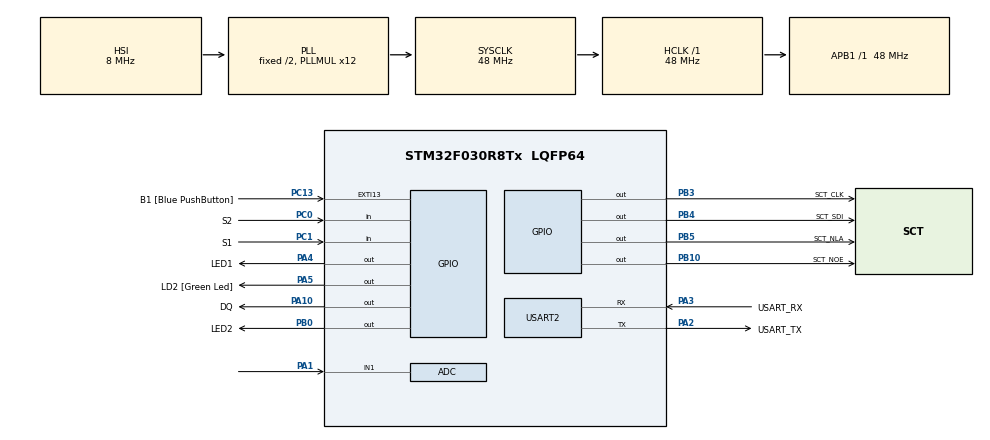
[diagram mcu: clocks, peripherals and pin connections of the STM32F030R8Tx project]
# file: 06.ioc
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ADC.ContinuousConvMode=ENABLE
ADC.Overrun=ADC_OVR_DATA_OVERWRITTEN
ADC.Resolution=ADC_RESOLUTION_10B
Mcu.Family=STM32F0
Mcu.Name=STM32F030R8Tx
Mcu.Package=LQFP64
PA1.Mode=IN1
PA1.Signal=ADC_IN1
PA10.GPIO_Label=DQ
PA10.GPIO_ModeDefaultOutputPP=GPIO_MODE_OUTPUT_OD
PA10.GPIO_PuPd=GPIO_NOPULL
PA10.PinState=GPIO_PIN_SET
PA10.Signal=GPIO_Output
PA13.GPIO_Label=TMS
PA13.Mode=Serial_Wire
PA13.Signal=SYS_SWDIO
PA14.GPIO_Label=TCK
PA14.Mode=Serial_Wire
PA14.Signal=SYS_SWCLK
PA2.GPIO_Label=USART_TX
PA2.GPIO_Mode=GPIO_MODE_AF_PP
PA2.GPIO_PuPd=GPIO_NOPULL
PA2.GPIO_Speed=GPIO_SPEED_FREQ_LOW
PA2.Mode=Asynchronous
PA2.Signal=USART2_TX
PA3.GPIO_Label=USART_RX
PA3.GPIO_Mode=GPIO_MODE_AF_PP
PA3.GPIO_PuPd=GPIO_NOPULL
PA3.GPIO_Speed=GPIO_SPEED_FREQ_LOW
PA3.Mode=Asynchronous
PA3.Signal=USART2_RX
PA4.GPIO_Label=LED1
PA4.GPIO_ModeDefaultOutputPP=GPIO_MODE_OUTPUT_PP
PA4.Signal=GPIO_Output
PA5.GPIO_Label=LD2 [Green Led]
PA5.GPIO_Mode=GPIO_MODE_OUTPUT_PP
PA5.GPIO_PuPd=GPIO_NOPULL
PA5.GPIO_Speed=GPIO_SPEED_FREQ_LOW
PA5.Signal=GPIO_Output
PB0.GPIO_Label=LED2
PB0.Signal=GPIO_Output
PB10.GPIO_Label=SCT_NOE
PB10.Signal=GPIO_Output
PB3.GPIO_Label=SCT_CLK
PB3.Signal=GPIO_Output
PB4.GPIO_Label=SCT_SDI
PB4.Signal=GPIO_Output
PB5.GPIO_Label=SCT_NLA
PB5.Signal=GPIO_Output
PC0.GPIO_Label=S2
PC0.GPIO_PuPd=GPIO_PULLUP
PC0.Signal=GPIO_Input
PC1.GPIO_Label=S1
PC1.GPIO_PuPd=GPIO_PULLUP
PC1.Signal=GPIO_Input
PC13.GPIO_Label=B1 [Blue PushButton]
PC13.GPIO_ModeDefaultEXTI=GPIO_MODE_IT_FALLING
PC13.Signal=GPXTI13
PC14-OSC32_IN.Mode=LSE-External-Oscillator
PC14-OSC32_IN.Signal=RCC_OSC32_IN
PC15-OSC32_OUT.Mode=LSE-External-Oscillator
PC15-OSC32_OUT.Signal=RCC_OSC32_OUT
PF0-OSC_IN.Mode=HSE-External-Clock-Source
PF0-OSC_IN.Signal=RCC_OSC_IN
PF1-OSC_OUT.Signal=RCC_OSC_OUT
ProjectManager.HeapSize=0x200
ProjectManager.StackSize=0x400
ProjectManager.TargetToolchain=STM32CubeIDE
RCC.AHBFreq_Value=48000000
RCC.APB1Freq_Value=48000000
RCC.APB1TimFreq_Value=48000000
RCC.HCLKFreq_Value=48000000
RCC.PLLMUL=RCC_PLL_MUL12
RCC.SYSCLKFreq_VALUE=48000000
RCC.SYSCLKSource=RCC_SYSCLKSOURCE_PLLCLK
USART2.VirtualMode-Asynchronous=VM_ASYNC
board=NUCLEO-F030R8

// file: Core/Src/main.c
/* USER CODE BEGIN Header */
/**
 ******************************************************************************
 * @file           : main.c
 * @brief          : Main program body
 ******************************************************************************
 * @attention
 *
 * Copyright (c) 2024 STMicroelectronics.
 * All rights reserved.
 *
 * This software is licensed under terms that can be found in the LICENSE file
 * in the root directory of this software component.
 * If no LICENSE file comes with this software, it is provided AS-IS.
 *
 ******************************************************************************
 */
/* USER CODE END Header */
#include "main.h"

/* USER CODE BEGIN Includes */
#include "sct.h"
#include "1wire.h"
/* USER CODE END Includes */

/* USER CODE BEGIN PD */
#define CONVERT_T_DELAY 750
#define DISPLAY_RATE 100
/* USER CODE END PD */

ADC_HandleTypeDef hadc;

UART_HandleTypeDef huart2;

/* USER CODE BEGIN PV */

static enum {SENSOR, NTC} state ;
/* USER CODE END PV */

void SystemClock_Config(void);
static void MX_GPIO_Init(void);
static void MX_USART2_UART_Init(void);
static void MX_ADC_Init(void);

/* USER CODE BEGIN 0 */
void button() {
	if (HAL_GPIO_ReadPin(S2_GPIO_Port, S2_Pin) == GPIO_PIN_RESET) {
		state = NTC;
	}
	if (HAL_GPIO_ReadPin(S1_GPIO_Port, S1_Pin) == GPIO_PIN_RESET) {
		state = SENSOR;
	}
}

/* USER CODE END 0 */

int main(void)
{

	/* USER CODE BEGIN 1 */
	static const uint16_t adcvalues[1024] = {
#include "data.dlm"
	};
	/* USER CODE END 1 */

	/* MCU Configuration--------------------------------------------------------*/

	/* Reset of all peripherals, Initializes the Flash interface and the Systick. */
	HAL_Init();

	/* Configure the system clock */
	SystemClock_Config();

	/* Initialize all configured peripherals */
	MX_GPIO_Init();
	MX_USART2_UART_Init();
	MX_ADC_Init();
	/* USER CODE BEGIN 2 */
	OWInit();
	sct_init();
	HAL_ADCEx_Calibration_Start(&hadc);
	HAL_ADC_Start(&hadc);

	int16_t result;
	uint16_t display = 0;
	uint32_t lastOWReadTick = 0;
	uint32_t lastDisplayUpdate = 0;
	uint8_t status;
	state = SENSOR;
	/* USER CODE END 2 */

	/* Infinite loop */
	/* USER CODE BEGIN WHILE */
	while (1)
	{
		button();
		switch (state) {
		case SENSOR:
			if (lastOWReadTick + CONVERT_T_DELAY < HAL_GetTick()) {
				OWConvertAll();
				lastOWReadTick = HAL_GetTick();
				status = OWReadTemperature(&result);
			}
			if (status != 0) {
				display = ((result + 5) / 10);
			}
			HAL_GPIO_WritePin(LED1_GPIO_Port, LED1_Pin, GPIO_PIN_RESET);
			HAL_GPIO_WritePin(LED2_GPIO_Port, LED2_Pin, GPIO_PIN_SET);
			break;
		case NTC:
			display = adcvalues[HAL_ADC_GetValue(&hadc)];
			HAL_GPIO_WritePin(LED1_GPIO_Port, LED1_Pin, GPIO_PIN_SET);
			HAL_GPIO_WritePin(LED2_GPIO_Port, LED2_Pin, GPIO_PIN_RESET);
			break;
		}
		if (lastDisplayUpdate + DISPLAY_RATE < HAL_GetTick()) {
			lastDisplayUpdate = HAL_GetTick();
			sct_value(display, 0);
		}

		/* USER CODE END WHILE */

	}
}

void SystemClock_Config(void)
{
	RCC_OscInitTypeDef RCC_OscInitStruct = {0};
	RCC_ClkInitTypeDef RCC_ClkInitStruct = {0};

	/** Initializes the RCC Oscillators according to the specified parameters
	 * in the RCC_OscInitTypeDef structure.
	 */
	RCC_OscInitStruct.OscillatorType = RCC_OSCILLATORTYPE_HSI|RCC_OSCILLATORTYPE_HSI14;
	RCC_OscInitStruct.HSIState = RCC_HSI_ON;
	RCC_OscInitStruct.HSI14State = RCC_HSI14_ON;
	RCC_OscInitStruct.HSICalibrationValue = RCC_HSICALIBRATION_DEFAULT;
	RCC_OscInitStruct.HSI14CalibrationValue = 16;
	RCC_OscInitStruct.PLL.PLLState = RCC_PLL_ON;
	RCC_OscInitStruct.PLL.PLLSource = RCC_PLLSOURCE_HSI;
	RCC_OscInitStruct.PLL.PLLMUL = RCC_PLL_MUL12;
	RCC_OscInitStruct.PLL.PREDIV = RCC_PREDIV_DIV1;
	if (HAL_RCC_OscConfig(&RCC_OscInitStruct) != HAL_OK)
	{
		Error_Handler();
	}

	/** Initializes the CPU, AHB and APB buses clocks
	 */
	RCC_ClkInitStruct.ClockType = RCC_CLOCKTYPE_HCLK|RCC_CLOCKTYPE_SYSCLK
			|RCC_CLOCKTYPE_PCLK1;
	RCC_ClkInitStruct.SYSCLKSource = RCC_SYSCLKSOURCE_PLLCLK;
	RCC_ClkInitStruct.AHBCLKDivider = RCC_SYSCLK_DIV1;
	RCC_ClkInitStruct.APB1CLKDivider = RCC_HCLK_DIV1;

	if (HAL_RCC_ClockConfig(&RCC_ClkInitStruct, FLASH_LATENCY_1) != HAL_OK)
	{
		Error_Handler();
	}
}

static void MX_ADC_Init(void)
{

	ADC_ChannelConfTypeDef sConfig = {0};

	/** Configure the global features of the ADC (Clock, Resolution, Data Alignment and number of conversion)
	 */
	hadc.Instance = ADC1;
	hadc.Init.ClockPrescaler = ADC_CLOCK_ASYNC_DIV1;
	hadc.Init.Resolution = ADC_RESOLUTION_10B;
	hadc.Init.DataAlign = ADC_DATAALIGN_RIGHT;
	hadc.Init.ScanConvMode = ADC_SCAN_DIRECTION_FORWARD;
	hadc.Init.EOCSelection = ADC_EOC_SINGLE_CONV;
	hadc.Init.LowPowerAutoWait = DISABLE;
	hadc.Init.LowPowerAutoPowerOff = DISABLE;
	hadc.Init.ContinuousConvMode = ENABLE;
	hadc.Init.DiscontinuousConvMode = DISABLE;
	hadc.Init.ExternalTrigConv = ADC_SOFTWARE_START;
	hadc.Init.ExternalTrigConvEdge = ADC_EXTERNALTRIGCONVEDGE_NONE;
	hadc.Init.DMAContinuousRequests = DISABLE;
	hadc.Init.Overrun = ADC_OVR_DATA_OVERWRITTEN;
	if (HAL_ADC_Init(&hadc) != HAL_OK)
	{
		Error_Handler();
	}

	/** Configure for the selected ADC regular channel to be converted.
	 */
	sConfig.Channel = ADC_CHANNEL_1;
	sConfig.Rank = ADC_RANK_CHANNEL_NUMBER;
	sConfig.SamplingTime = ADC_SAMPLETIME_1CYCLE_5;
	if (HAL_ADC_ConfigChannel(&hadc, &sConfig) != HAL_OK)
	{
		Error_Handler();
	}

}

static void MX_USART2_UART_Init(void)
{

	huart2.Instance = USART2;
	huart2.Init.BaudRate = 38400;
	huart2.Init.WordLength = UART_WORDLENGTH_8B;
	huart2.Init.StopBits = UART_STOPBITS_1;
	huart2.Init.Parity = UART_PARITY_NONE;
	huart2.Init.Mode = UART_MODE_TX_RX;
	huart2.Init.HwFlowCtl = UART_HWCONTROL_NONE;
	huart2.Init.OverSampling = UART_OVERSAMPLING_16;
	huart2.Init.OneBitSampling = UART_ONE_BIT_SAMPLE_DISABLE;
	huart2.AdvancedInit.AdvFeatureInit = UART_ADVFEATURE_NO_INIT;
	if (HAL_UART_Init(&huart2) != HAL_OK)
	{
		Error_Handler();
	}

}

static void MX_GPIO_Init(void)
{
	GPIO_InitTypeDef GPIO_InitStruct = {0};

	/* GPIO Ports Clock Enable */
	__HAL_RCC_GPIOC_CLK_ENABLE();
	__HAL_RCC_GPIOF_CLK_ENABLE();
	__HAL_RCC_GPIOA_CLK_ENABLE();
	__HAL_RCC_GPIOB_CLK_ENABLE();

	/*Configure GPIO pin Output Level */
	HAL_GPIO_WritePin(GPIOA, LED1_Pin|LD2_Pin, GPIO_PIN_RESET);

	/*Configure GPIO pin Output Level */
	HAL_GPIO_WritePin(GPIOB, LED2_Pin|SCT_NOE_Pin|SCT_CLK_Pin|SCT_SDI_Pin
			|SCT_NLA_Pin, GPIO_PIN_RESET);

	/*Configure GPIO pin Output Level */
	HAL_GPIO_WritePin(DQ_GPIO_Port, DQ_Pin, GPIO_PIN_SET);

	/*Configure GPIO pin : B1_Pin */
	GPIO_InitStruct.Pin = B1_Pin;
	GPIO_InitStruct.Mode = GPIO_MODE_IT_FALLING;
	GPIO_InitStruct.Pull = GPIO_NOPULL;
	HAL_GPIO_Init(B1_GPIO_Port, &GPIO_InitStruct);

	/*Configure GPIO pins : S2_Pin S1_Pin */
	GPIO_InitStruct.Pin = S2_Pin|S1_Pin;
	GPIO_InitStruct.Mode = GPIO_MODE_INPUT;
	GPIO_InitStruct.Pull = GPIO_PULLUP;
	HAL_GPIO_Init(GPIOC, &GPIO_InitStruct);

	/*Configure GPIO pins : LED1_Pin LD2_Pin */
	GPIO_InitStruct.Pin = LED1_Pin|LD2_Pin;
	GPIO_InitStruct.Mode = GPIO_MODE_OUTPUT_PP;
	GPIO_InitStruct.Pull = GPIO_NOPULL;
	GPIO_InitStruct.Speed = GPIO_SPEED_FREQ_LOW;
	HAL_GPIO_Init(GPIOA, &GPIO_InitStruct);

	/*Configure GPIO pins : LED2_Pin SCT_NOE_Pin SCT_CLK_Pin SCT_SDI_Pin
                           SCT_NLA_Pin */
	GPIO_InitStruct.Pin = LED2_Pin|SCT_NOE_Pin|SCT_CLK_Pin|SCT_SDI_Pin
			|SCT_NLA_Pin;
	GPIO_InitStruct.Mode = GPIO_MODE_OUTPUT_PP;
	GPIO_InitStruct.Pull = GPIO_NOPULL;
	GPIO_InitStruct.Speed = GPIO_SPEED_FREQ_LOW;
	HAL_GPIO_Init(GPIOB, &GPIO_InitStruct);

	/*Configure GPIO pin : DQ_Pin */
	GPIO_InitStruct.Pin = DQ_Pin;
	GPIO_InitStruct.Mode = GPIO_MODE_OUTPUT_OD;
	GPIO_InitStruct.Pull = GPIO_NOPULL;
	GPIO_InitStruct.Speed = GPIO_SPEED_FREQ_LOW;
	HAL_GPIO_Init(DQ_GPIO_Port, &GPIO_InitStruct);

}

void Error_Handler(void)
{
	__disable_irq();
	while (1)
	{
	}
}
